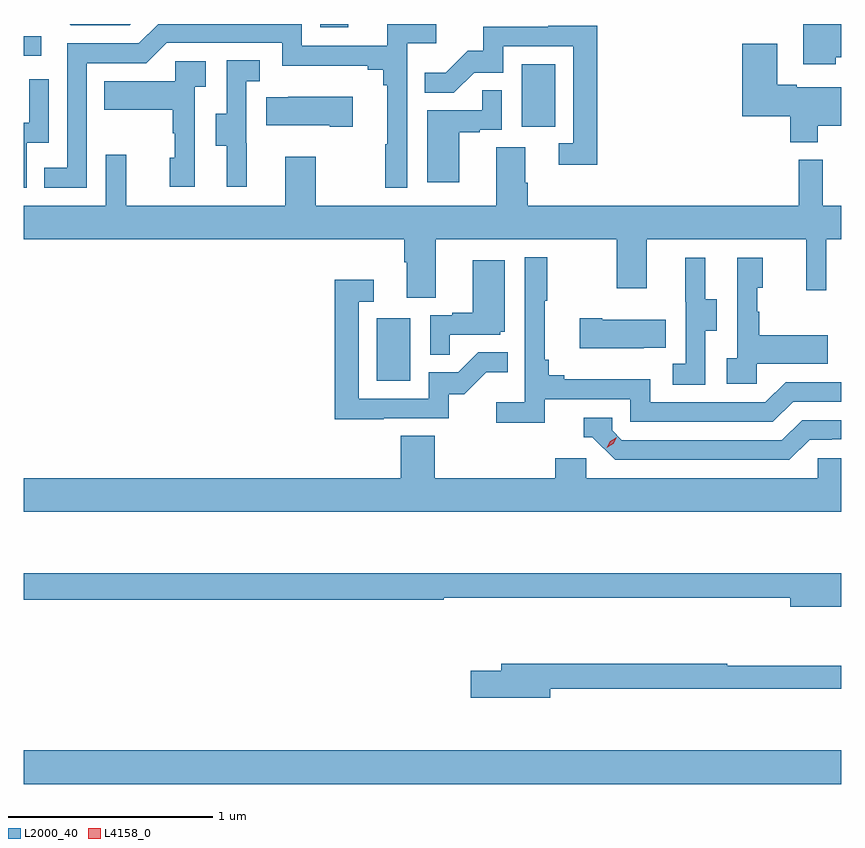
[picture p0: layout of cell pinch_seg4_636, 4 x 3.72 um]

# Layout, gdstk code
import gdstk
lib = gdstk.Library(unit=1e-6, precision=1e-09)
def R(c, l, rs):  # rectangles x0, y0, x1, y1
    for r in rs: c.add(gdstk.rectangle(r[:2], r[2:], *l))
def P(c, l, *ps):  # polygons
    for p in ps: c.add(gdstk.Polygon(p, *l))
L2000_40 = (2000, 40)
L4158_0 = (4158, 0)

pinch_seg4_636 = lib.new_cell('pinch_seg4_636')
R(pinch_seg4_636, L2000_40, [(1044.266,763.52,1048.266,763.684), (1045.994,765.492,1046.158,765.799), (1046.702,766.734,1046.866,767.041), (1044.266,767.082,1044.352,767.178), (1045.716,767.22,1045.855,767.237)])
P(pinch_seg4_636, L2000_40, [(1044.576,767.046),(1044.867,767.046),(1044.966,767.145),(1045.53,767.145),(1045.53,767.033),(1045.949,767.033),(1045.949,767.014),(1046.026,767.014),(1046.026,766.937),(1046.045,766.937),(1046.045,766.649),(1046.034,766.649),(1046.034,766.437),(1046.142,766.437),(1046.142,767.144),(1046.284,767.144),(1046.284,767.237),(1046.045,767.237),(1046.045,767.13),(1045.626,767.13),(1045.626,767.237),(1044.925,767.237),(1044.83,767.142),(1044.48,767.142),(1044.48,766.533),(1044.367,766.533),(1044.367,766.437),(1044.576,766.437)],
  [(1048.237,767.075),(1048.266,767.075),(1048.266,767.237),(1048.079,767.237),(1048.079,767.039),(1048.237,767.039)],
  [(1044.791,767.237),(1044.492,767.237),(1044.497,767.232),(1044.786,767.232)],
  [(1047.071,767.228),(1046.833,767.228),(1046.833,767.223),(1046.515,767.223),(1046.515,767.106),(1046.438,767.106),(1046.331,766.999),(1046.227,766.999),(1046.227,766.9),(1046.371,766.9),(1046.469,766.998),(1046.613,766.998),(1046.613,767.127),(1046.955,767.127),(1046.955,766.653),(1046.883,766.653),(1046.883,766.548),(1047.071,766.548)],
  [(1048.15,766.739),(1048.264,766.739),(1048.264,766.927),(1048.048,766.927),(1048.048,766.94),(1047.952,766.94),(1047.952,767.14),(1047.782,767.14),(1047.782,766.787),(1048.016,766.787),(1048.016,766.658),(1048.15,766.658)],
  [(1045.358,766.653),(1045.356,766.653),(1045.356,766.957),(1045.42,766.957),(1045.42,767.06),(1045.26,767.06),(1045.26,766.797),(1045.205,766.797),(1045.205,766.642),(1045.259,766.642),(1045.259,766.44),(1045.358,766.44)],
  [(1045.104,766.931),(1045.156,766.931),(1045.156,767.055),(1045.008,767.055),(1045.008,766.957),(1044.661,766.957),(1044.661,766.817),(1044.996,766.817),(1044.996,766.703),(1045.006,766.703),(1045.006,766.584),(1044.98,766.584),(1044.98,766.44),(1045.104,766.44)],
  [(1044.282,766.656),(1044.39,766.656),(1044.39,766.966),(1044.294,766.966),(1044.294,766.754),(1044.266,766.754),(1044.266,766.437),(1044.282,766.437)],
  [(1046.398,766.707),(1046.498,766.707),(1046.498,766.719),(1046.604,766.719),(1046.604,766.913),(1046.509,766.913),(1046.509,766.815),(1046.24,766.815),(1046.24,766.464),(1046.398,766.464)],
  [(1045.876,766.882),(1045.561,766.882),(1045.561,766.879),(1045.453,766.879),(1045.453,766.742),(1045.763,766.742),(1045.763,766.735),(1045.876,766.735)],
  [(1046.281,766.184),(1047.166,766.184),(1047.166,765.945),(1047.313,765.945),(1047.313,766.184),(1048.094,766.184),(1048.094,765.936),(1048.191,765.936),(1048.191,766.184),(1048.266,766.184),(1048.266,766.348),(1048.175,766.348),(1048.175,766.573),(1048.057,766.573),(1048.057,766.348),(1046.732,766.348),(1046.732,766.46),(1046.719,766.46),(1046.719,766.634),(1046.579,766.634),(1046.579,766.348),(1045.695,766.348),(1045.695,766.588),(1045.547,766.588),(1045.547,766.348),(1044.767,766.348),(1044.767,766.597),(1044.669,766.597),(1044.669,766.348),(1044.266,766.348),(1044.266,766.184),(1046.129,766.184),(1046.129,766.072),(1046.141,766.072),(1046.141,765.898),(1046.281,765.898)],
  [(1046.816,765.402),(1047.234,765.402),(1047.234,765.291),(1047.931,765.291),(1048.03,765.39),(1048.266,765.39),(1048.266,765.486),(1047.993,765.486),(1047.894,765.387),(1047.33,765.387),(1047.33,765.499),(1046.911,765.499),(1046.911,765.518),(1046.834,765.518),(1046.834,765.595),(1046.815,765.595),(1046.815,765.883),(1046.827,765.883),(1046.827,766.096),(1046.718,766.096),(1046.718,765.388),(1046.577,765.388),(1046.577,765.286),(1046.816,765.286)],
  [(1047.6,765.736),(1047.655,765.736),(1047.655,765.891),(1047.601,765.891),(1047.601,766.093),(1047.503,766.093),(1047.503,765.879),(1047.504,765.879),(1047.504,765.575),(1047.441,765.575),(1047.441,765.472),(1047.6,765.472)],
  [(1047.852,765.575),(1048.199,765.575),(1048.199,765.715),(1047.865,765.715),(1047.865,765.83),(1047.855,765.83),(1047.855,765.948),(1047.88,765.948),(1047.88,766.093),(1047.756,766.093),(1047.756,765.602),(1047.705,765.602),(1047.705,765.477),(1047.852,765.477)],
  [(1046.351,765.717),(1046.598,765.717),(1046.598,765.732),(1046.62,765.732),(1046.62,766.081),(1046.462,766.081),(1046.462,765.826),(1046.363,765.826),(1046.363,765.813),(1046.256,765.813),(1046.256,765.619),(1046.351,765.619)],
  [(1046.027,765.309),(1046.346,765.309),(1046.346,765.426),(1046.422,765.426),(1046.529,765.533),(1046.633,765.533),(1046.633,765.632),(1046.489,765.632),(1046.391,765.534),(1046.247,765.534),(1046.247,765.405),(1045.905,765.405),(1045.905,765.879),(1045.978,765.879),(1045.978,765.985),(1045.789,765.985),(1045.789,765.304),(1046.027,765.304)],
  [(1047.299,765.653),(1047.407,765.653),(1047.407,765.79),(1047.097,765.79),(1047.097,765.798),(1046.985,765.798),(1046.985,765.65),(1047.299,765.65)],
  [(1048.111,765.204),(1048.218,765.204),(1048.218,765.207),(1048.266,765.207),(1048.266,765.3),(1048.074,765.3),(1047.975,765.201),(1047.192,765.201),(1047.144,765.249),(1047.144,765.312),(1047.005,765.312),(1047.005,765.216),(1047.048,765.216),(1047.159,765.105),(1048.012,765.105)],
  [(1048.266,765.114),(1048.149,765.114),(1048.149,765.016),(1047.018,765.016),(1047.018,765.114),(1046.867,765.114),(1046.867,765.016),(1046.276,765.016),(1046.276,765.224),(1046.111,765.224),(1046.111,765.016),(1044.266,765.016),(1044.266,764.852),(1048.266,764.852)],
  [(1048.266,764.551),(1044.266,764.551),(1044.266,764.422),(1046.32,764.422),(1046.32,764.43),(1048.016,764.43),(1048.016,764.387),(1048.266,764.387)],
  [(1046.842,763.986),(1048.266,763.986),(1048.266,764.099),(1047.707,764.099),(1047.707,764.107),(1046.603,764.107),(1046.603,764.073),(1046.454,764.073),(1046.454,763.943),(1046.842,763.943)])
P(pinch_seg4_636, L4158_0, [(1047.119,765.164),(1047.119,765.165),(1047.135,765.197),(1047.167,765.216),(1047.167,765.216),(1047.167,765.216),(1047.15,765.184),(1047.119,765.164)])

lib.write_gds('pinch_seg4_636.gds')
